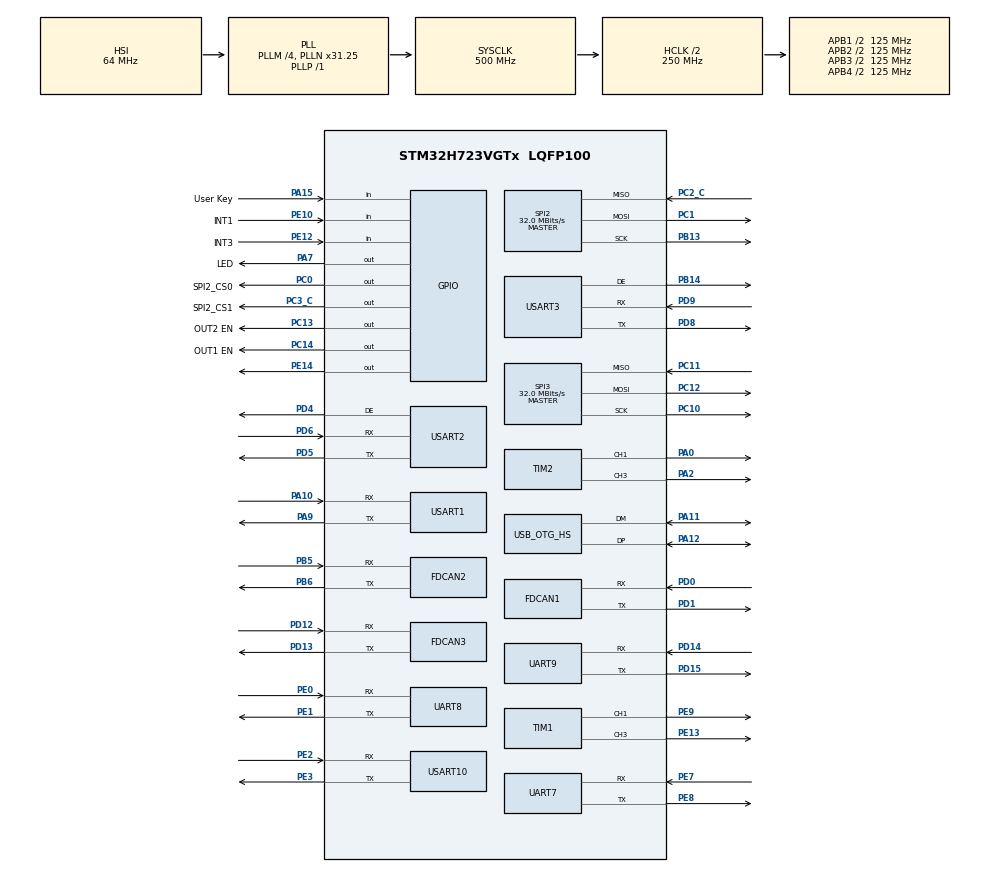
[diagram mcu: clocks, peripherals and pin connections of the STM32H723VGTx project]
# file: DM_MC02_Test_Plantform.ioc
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CORTEX_M7.default_mode_Activation=1
FDCAN1.CalculateBaudRateNominal=1000000
FDCAN1.CalculateTimeBitNominal=1000
FDCAN1.CalculateTimeQuantumNominal=40.0
FDCAN1.NominalPrescaler=5
FDCAN1.NominalSyncJumpWidth=8
FDCAN1.NominalTimeSeg1=12
FDCAN1.NominalTimeSeg2=12
FDCAN1.RxFifo0ElmtsNbr=32
FDCAN1.TxFifoQueueElmtsNbr=10
FDCAN2.CalculateBaudRateNominal=1000000
FDCAN2.CalculateTimeBitNominal=1000
FDCAN2.CalculateTimeQuantumNominal=40.0
FDCAN2.NominalPrescaler=5
FDCAN2.NominalSyncJumpWidth=8
FDCAN2.NominalTimeSeg1=12
FDCAN2.NominalTimeSeg2=12
FDCAN2.RxFifo0ElmtsNbr=32
FDCAN2.TxFifoQueueElmtsNbr=10
FDCAN3.CalculateBaudRateNominal=1000000
FDCAN3.CalculateTimeBitNominal=1000
FDCAN3.CalculateTimeQuantumNominal=40.0
FDCAN3.NominalPrescaler=5
FDCAN3.NominalSyncJumpWidth=8
FDCAN3.NominalTimeSeg1=12
FDCAN3.NominalTimeSeg2=12
FDCAN3.RxFifo0ElmtsNbr=32
FDCAN3.TxFifoQueueElmtsNbr=10
FREERTOS.Queues01=ButtonMessageQueue,16,uint16_t,0,Dynamic,NULL,NULL
FREERTOS.Tasks01=defaultTask,24,128,StartDefaultTask,Default,NULL,Dynamic,NULL,NULL;buttonTask,24,128,ButtonTask,Default,NULL,Dynamic,NULL,NULL;uartRxTask,24,128,UartRxTask,Default,NULL,Dynamic,NULL,NULL
FREERTOS.configCHECK_FOR_STACK_OVERFLOW=2
FREERTOS.configENABLE_FPU=1
FREERTOS.configTOTAL_HEAP_SIZE=65536
FREERTOS.configUSE_STATS_FORMATTING_FUNCTIONS=1
Mcu.Family=STM32H7
Mcu.Name=STM32H723VGTx
Mcu.Package=LQFP100
NVIC.FDCAN1_IT0_IRQn=true\:5\:0\:false\:false\:true\:true\:true\:true\:true
NVIC.FDCAN2_IT0_IRQn=true\:5\:0\:false\:false\:true\:true\:true\:true\:true
NVIC.FDCAN3_IT0_IRQn=true\:5\:0\:false\:false\:true\:true\:true\:true\:true
NVIC.OTG_HS_IRQn=true\:5\:0\:false\:false\:true\:true\:true\:true\:true
NVIC.PriorityGroup=NVIC_PRIORITYGROUP_4
NVIC.TIM7_IRQn=true\:15\:0\:false\:false\:true\:false\:false\:true\:true
NVIC.TimeBase=TIM7_IRQn
NVIC.TimeBaseIP=TIM7
NVIC.UART7_IRQn=true\:5\:0\:false\:false\:true\:true\:true\:true\:true
NVIC.UART8_IRQn=true\:5\:0\:false\:false\:true\:true\:true\:true\:true
NVIC.UART9_IRQn=true\:5\:0\:false\:false\:true\:true\:true\:true\:true
NVIC.USART10_IRQn=true\:5\:0\:false\:false\:true\:true\:true\:true\:true
NVIC.USART1_IRQn=true\:5\:0\:false\:false\:true\:true\:true\:true\:true
NVIC.USART2_IRQn=true\:5\:0\:false\:false\:true\:true\:true\:true\:true
NVIC.USART3_IRQn=true\:5\:0\:false\:false\:true\:true\:true\:true\:true
PA0.Signal=S_TIM2_CH1_ETR
PA1.Signal=OCTOSPIM_P1_IO3
PA10.Mode=Asynchronous
PA10.Signal=USART1_RX
PA11.Mode=Device_Only_FS
PA11.Signal=USB_OTG_HS_DM
PA12.Mode=Device_Only_FS
PA12.Signal=USB_OTG_HS_DP
PA13(JTMS/SWDIO).Signal=DEBUG_JTMS-SWDIO
PA14(JTCK/SWCLK).Signal=DEBUG_JTCK-SWCLK
PA15(JTDI).GPIO_Label=User Key
PA15(JTDI).Signal=GPIO_Input
PA2.Signal=S_TIM2_CH3
PA3.Signal=OCTOSPIM_P1_IO2
PA7.GPIO_Label=LED
PA7.Signal=GPIO_Output
PA9.Mode=Asynchronous
PA9.Signal=USART1_TX
PB0.Signal=OCTOSPIM_P1_IO1
PB13.Mode=Full_Duplex_Master
PB13.Signal=SPI2_SCK
PB14.Mode=Hardware Flow Control (RS485)
PB14.Signal=USART3_DE
PB15.Signal=S_TIM12_CH2
PB2.Signal=OCTOSPIM_P1_CLK
PB5.Mode=FDCAN_Activate
PB5.Signal=FDCAN2_RX
PB6.Mode=FDCAN_Activate
PB6.Signal=FDCAN2_TX
PC0.GPIO_Label=SPI2_CS0
PC0.Signal=GPIO_Output
PC1.Mode=Full_Duplex_Master
PC1.Signal=SPI2_MOSI
PC10.Mode=Full_Duplex_Master
PC10.Signal=SPI3_SCK
PC11.Mode=Full_Duplex_Master
PC11.Signal=SPI3_MISO
PC12.Mode=Full_Duplex_Master
PC12.Signal=SPI3_MOSI
PC13.GPIO_Label=OUT2 EN
PC13.Signal=GPIO_Output
PC14-OSC32_IN.GPIO_Label=OUT1 EN
PC14-OSC32_IN.Signal=GPIO_Output
PC2_C.Mode=Full_Duplex_Master
PC2_C.Signal=SPI2_MISO
PC3_C.GPIO_Label=SPI2_CS1
PC3_C.Signal=GPIO_Output
PD0.Mode=FDCAN_Activate
PD0.Signal=FDCAN1_RX
PD1.Mode=FDCAN_Activate
PD1.Signal=FDCAN1_TX
PD11.Signal=OCTOSPIM_P1_IO0
PD12.Mode=FDCAN_Activate
PD12.Signal=FDCAN3_RX
PD13.Mode=FDCAN_Activate
PD13.Signal=FDCAN3_TX
PD14.Mode=Asynchronous
PD14.Signal=UART9_RX
PD15.Mode=Asynchronous
PD15.Signal=UART9_TX
PD2.Signal=UART5_RX
PD4.Mode=Hardware Flow Control (RS485)
PD4.Signal=USART2_DE
PD5.Mode=Asynchronous
PD5.Signal=USART2_TX
PD6.Mode=Asynchronous
PD6.Signal=USART2_RX
PD8.Mode=Asynchronous
PD8.Signal=USART3_TX
PD9.Mode=Asynchronous
PD9.Signal=USART3_RX
PE0.Mode=Asynchronous
PE0.Signal=UART8_RX
PE1.Mode=Asynchronous
PE1.Signal=UART8_TX
PE10.GPIO_Label=INT1
PE10.Signal=GPIO_Input
PE11.Signal=OCTOSPIM_P1_NCS
PE12.GPIO_Label=INT3
PE12.Signal=GPIO_Input
PE13.Signal=S_TIM1_CH3
PE14.Signal=GPIO_Output
PE2.Mode=Asynchronous
PE2.Signal=USART10_RX
PE3.Mode=Asynchronous
PE3.Signal=USART10_TX
PE7.Mode=Asynchronous
PE7.Signal=UART7_RX
PE8.Mode=Asynchronous
PE8.Signal=UART7_TX
PE9.Signal=S_TIM1_CH1
PH0-OSC_IN.Mode=HSE-External-Oscillator
PH0-OSC_IN.Signal=RCC_OSC_IN
PH1-OSC_OUT.Mode=HSE-External-Oscillator
PH1-OSC_OUT.Signal=RCC_OSC_OUT
ProjectManager.HeapSize=0x200
ProjectManager.StackSize=0x400
ProjectManager.TargetToolchain=CMake
RCC.ADCFreq_Value=129000000
RCC.APB1Freq_Value=125000000
RCC.APB2Freq_Value=125000000
RCC.APB3Freq_Value=125000000
RCC.APB4Freq_Value=125000000
RCC.CortexFreq_Value=500000000
RCC.D1PPRE=RCC_APB3_DIV2
RCC.D2PPRE1=RCC_APB1_DIV2
RCC.D2PPRE2=RCC_APB2_DIV2
RCC.D3PPRE=RCC_APB4_DIV2
RCC.DIVM1=4
RCC.DIVN1=31
RCC.DIVP1=1
RCC.DIVQ1=4
RCC.HCLKFreq_Value=250000000
RCC.HPRE=RCC_HCLK_DIV2
RCC.PLL2FRACN=0
RCC.PLL3FRACN=0
RCC.PLLFRACN=2048
RCC.SPI123CLockSelection=RCC_SPI123CLKSOURCE_CLKP
RCC.SYSCLKFreq_VALUE=500000000
RCC.SYSCLKSource=RCC_SYSCLKSOURCE_PLLCLK
RCC.USBCLockSelection=RCC_USBCLKSOURCE_HSI48
RCC.USBFreq_Value=48000000
SH.S_TIM12_CH2.0=TIM12_CH2
SH.S_TIM1_CH1.0=TIM1_CH1,PWM Generation1 CH1
SH.S_TIM1_CH3.0=TIM1_CH3,PWM Generation3 CH3
SH.S_TIM2_CH1_ETR.0=TIM2_CH1,PWM Generation1 CH1
SH.S_TIM2_CH3.0=TIM2_CH3,PWM Generation3 CH3
SPI2.CalculateBaudRate=32.0 MBits/s
SPI2.Direction=SPI_DIRECTION_2LINES
SPI2.Mode=SPI_MODE_MASTER
SPI2.VirtualType=VM_MASTER
SPI3.CalculateBaudRate=32.0 MBits/s
SPI3.Direction=SPI_DIRECTION_2LINES
SPI3.Mode=SPI_MODE_MASTER
SPI3.VirtualType=VM_MASTER
TIM1.Channel-PWM\ Generation1\ CH1=TIM_CHANNEL_1
TIM1.Channel-PWM\ Generation3\ CH3=TIM_CHANNEL_3
TIM2.Channel-PWM\ Generation1\ CH1=TIM_CHANNEL_1
TIM2.Channel-PWM\ Generation3\ CH3=TIM_CHANNEL_3
USART1.VirtualMode-Asynchronous=VM_ASYNC
USART10.VirtualMode=VM_ASYNC
USART2.VirtualMode-Asynchronous=VM_ASYNC
USART2.VirtualMode-Hardware\ Flow\ Control\ (RS485)=VM_ASYNC
USART3.VirtualMode-Asynchronous=VM_ASYNC
USART3.VirtualMode-Hardware\ Flow\ Control\ (RS485)=VM_ASYNC
USB_DEVICE.CLASS_NAME_HS=CDC
USB_DEVICE.VirtualMode=Cdc
USB_DEVICE.VirtualModeHS=Cdc_HS
USB_OTG_HS.VirtualMode-Device_Only_FS=Device_Only_FS
VP_FREERTOS_VS_CMSIS_V2.Mode=CMSIS_V2
VP_MEMORYMAP_VS_MEMORYMAP.Mode=CurAppReg
VP_SYS_VS_tim7.Mode=TIM7
VP_USB_DEVICE_VS_USB_DEVICE_CDC_HS.Mode=CDC_HS
board=custom

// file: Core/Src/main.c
/* USER CODE BEGIN Header */
/**
  ******************************************************************************
  * @file           : main.c
  * @brief          : Main program body
  ******************************************************************************
  * @attention
  *
  * Copyright (c) 2026 STMicroelectronics.
  * All rights reserved.
  *
  * This software is licensed under terms that can be found in the LICENSE file
  * in the root directory of this software component.
  * If no LICENSE file comes with this software, it is provided AS-IS.
  *
  ******************************************************************************
  */
/* USER CODE END Header */
#include "main.h"
#include "FreeRTOS.h"
#include "cmsis_os2.h"
#include "fdcan.h"
#include "spi.h"
#include "tim.h"
#include "usart.h"
#include "usb_device.h"
#include "gpio.h"

void SystemClock_Config(void);
void PeriphCommonClock_Config(void);
static void MPU_Config(void);
void MX_FREERTOS_Init(void);

int main(void)
{

  /* MPU Configuration--------------------------------------------------------*/
  MPU_Config();

  /* MCU Configuration--------------------------------------------------------*/

  /* Reset of all peripherals, Initializes the Flash interface and the Systick. */
  HAL_Init();

  /* Configure the system clock */
  SystemClock_Config();

  /* Configure the peripherals common clocks */
  PeriphCommonClock_Config();

  /* Initialize all configured peripherals */
  MX_GPIO_Init();
  MX_USART1_UART_Init();
  MX_USART2_UART_Init();
  MX_USART3_UART_Init();
  MX_FDCAN1_Init();
  MX_FDCAN2_Init();
  MX_FDCAN3_Init();
  MX_SPI2_Init();
  MX_UART7_Init();
  MX_TIM1_Init();
  MX_TIM2_Init();
  MX_UART8_Init();
  MX_UART9_Init();
  MX_USART10_UART_Init();
  MX_SPI3_Init();

  /* Init scheduler */
  osKernelInitialize();  /* Call init function for freertos objects (in cmsis_os2.c) */
  MX_FREERTOS_Init();

  /* Start scheduler */
  osKernelStart();

  /* We should never get here as control is now taken by the scheduler */

  /* Infinite loop */
  while (1)
  {

  }
}

void SystemClock_Config(void)
{
  RCC_OscInitTypeDef RCC_OscInitStruct = {0};
  RCC_ClkInitTypeDef RCC_ClkInitStruct = {0};

  /** Supply configuration update enable
  */
  HAL_PWREx_ConfigSupply(PWR_LDO_SUPPLY);

  /** Configure the main internal regulator output voltage
  */
  __HAL_PWR_VOLTAGESCALING_CONFIG(PWR_REGULATOR_VOLTAGE_SCALE0);

  while(!__HAL_PWR_GET_FLAG(PWR_FLAG_VOSRDY)) {}

  /** Initializes the RCC Oscillators according to the specified parameters
  * in the RCC_OscInitTypeDef structure.
  */
  RCC_OscInitStruct.OscillatorType = RCC_OSCILLATORTYPE_HSI48|RCC_OSCILLATORTYPE_HSI;
  RCC_OscInitStruct.HSIState = RCC_HSI_DIV1;
  RCC_OscInitStruct.HSICalibrationValue = 64;
  RCC_OscInitStruct.HSI48State = RCC_HSI48_ON;
  RCC_OscInitStruct.PLL.PLLState = RCC_PLL_ON;
  RCC_OscInitStruct.PLL.PLLSource = RCC_PLLSOURCE_HSI;
  RCC_OscInitStruct.PLL.PLLM = 4;
  RCC_OscInitStruct.PLL.PLLN = 31;
  RCC_OscInitStruct.PLL.PLLP = 1;
  RCC_OscInitStruct.PLL.PLLQ = 4;
  RCC_OscInitStruct.PLL.PLLR = 2;
  RCC_OscInitStruct.PLL.PLLRGE = RCC_PLL1VCIRANGE_3;
  RCC_OscInitStruct.PLL.PLLVCOSEL = RCC_PLL1VCOWIDE;
  RCC_OscInitStruct.PLL.PLLFRACN = 2048;
  if (HAL_RCC_OscConfig(&RCC_OscInitStruct) != HAL_OK)
  {
    Error_Handler();
  }

  /** Initializes the CPU, AHB and APB buses clocks
  */
  RCC_ClkInitStruct.ClockType = RCC_CLOCKTYPE_HCLK|RCC_CLOCKTYPE_SYSCLK
                              |RCC_CLOCKTYPE_PCLK1|RCC_CLOCKTYPE_PCLK2
                              |RCC_CLOCKTYPE_D3PCLK1|RCC_CLOCKTYPE_D1PCLK1;
  RCC_ClkInitStruct.SYSCLKSource = RCC_SYSCLKSOURCE_PLLCLK;
  RCC_ClkInitStruct.SYSCLKDivider = RCC_SYSCLK_DIV1;
  RCC_ClkInitStruct.AHBCLKDivider = RCC_HCLK_DIV2;
  RCC_ClkInitStruct.APB3CLKDivider = RCC_APB3_DIV2;
  RCC_ClkInitStruct.APB1CLKDivider = RCC_APB1_DIV2;
  RCC_ClkInitStruct.APB2CLKDivider = RCC_APB2_DIV2;
  RCC_ClkInitStruct.APB4CLKDivider = RCC_APB4_DIV2;

  if (HAL_RCC_ClockConfig(&RCC_ClkInitStruct, FLASH_LATENCY_3) != HAL_OK)
  {
    Error_Handler();
  }
}

void PeriphCommonClock_Config(void)
{
  RCC_PeriphCLKInitTypeDef PeriphClkInitStruct = {0};

  /** Initializes the peripherals clock
  */
  PeriphClkInitStruct.PeriphClockSelection = RCC_PERIPHCLK_CKPER;
  PeriphClkInitStruct.CkperClockSelection = RCC_CLKPSOURCE_HSI;
  if (HAL_RCCEx_PeriphCLKConfig(&PeriphClkInitStruct) != HAL_OK)
  {
    Error_Handler();
  }
}

 /* MPU Configuration */

void MPU_Config(void)
{
  MPU_Region_InitTypeDef MPU_InitStruct = {0};

  /* Disables the MPU */
  HAL_MPU_Disable();

  /** Initializes and configures the Region and the memory to be protected
  */
  MPU_InitStruct.Enable = MPU_REGION_ENABLE;
  MPU_InitStruct.Number = MPU_REGION_NUMBER0;
  MPU_InitStruct.BaseAddress = 0x0;
  MPU_InitStruct.Size = MPU_REGION_SIZE_4GB;
  MPU_InitStruct.SubRegionDisable = 0x87;
  MPU_InitStruct.TypeExtField = MPU_TEX_LEVEL0;
  MPU_InitStruct.AccessPermission = MPU_REGION_NO_ACCESS;
  MPU_InitStruct.DisableExec = MPU_INSTRUCTION_ACCESS_DISABLE;
  MPU_InitStruct.IsShareable = MPU_ACCESS_SHAREABLE;
  MPU_InitStruct.IsCacheable = MPU_ACCESS_NOT_CACHEABLE;
  MPU_InitStruct.IsBufferable = MPU_ACCESS_NOT_BUFFERABLE;

  HAL_MPU_ConfigRegion(&MPU_InitStruct);
  /* Enables the MPU */
  HAL_MPU_Enable(MPU_PRIVILEGED_DEFAULT);

}

void HAL_TIM_PeriodElapsedCallback(TIM_HandleTypeDef *htim)
{
  if (htim->Instance == TIM7)
  {
    HAL_IncTick();
  }
}

void Error_Handler(void)
{
  __disable_irq();
  while (1)
  {
  }
}

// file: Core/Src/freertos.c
/* USER CODE BEGIN Header */
/**
  ******************************************************************************
  * File Name          : freertos.c
  * Description        : Code for freertos applications
  ******************************************************************************
  * @attention
  *
  * Copyright (c) 2026 STMicroelectronics.
  * All rights reserved.
  *
  * This software is licensed under terms that can be found in the LICENSE file
  * in the root directory of this software component.
  * If no LICENSE file comes with this software, it is provided AS-IS.
  *
  ******************************************************************************
  */
/* USER CODE END Header */

#include "FreeRTOS.h"
#include "task.h"
#include "main.h"
#include "FreeRTOS.h"
#include "cmsis_os2.h"

/* Definitions for defaultTask */
osThreadId_t defaultTaskHandle;
const osThreadAttr_t defaultTask_attributes = {
  .name = "defaultTask",
  .stack_size = 128 * 4,
  .priority = (osPriority_t) osPriorityNormal,
};
/* Definitions for buttonTask */
osThreadId_t buttonTaskHandle;
const osThreadAttr_t buttonTask_attributes = {
  .name = "buttonTask",
  .stack_size = 128 * 4,
  .priority = (osPriority_t) osPriorityNormal,
};
/* Definitions for uartRxTask */
osThreadId_t uartRxTaskHandle;
const osThreadAttr_t uartRxTask_attributes = {
  .name = "uartRxTask",
  .stack_size = 128 * 4,
  .priority = (osPriority_t) osPriorityNormal,
};
/* Definitions for ButtonMessageQueue */
osMessageQueueId_t ButtonMessageQueueHandle;
const osMessageQueueAttr_t ButtonMessageQueue_attributes = {
  .name = "ButtonMessageQueue"
};

void StartDefaultTask(void *argument);
void ButtonTask(void *argument);
void UartRxTask(void *argument);

extern void MX_USB_DEVICE_Init(void);
void MX_FREERTOS_Init(void); /* (MISRA C 2004 rule 8.1) */

/* Hook prototypes */
void vApplicationStackOverflowHook(xTaskHandle xTask, char *pcTaskName);

/* USER CODE BEGIN 4 */
void vApplicationStackOverflowHook(xTaskHandle xTask, char *pcTaskName)
{
   /* Run time stack overflow checking is performed if
   configCHECK_FOR_STACK_OVERFLOW is defined to 1 or 2. This hook function is
   called if a stack overflow is detected. */
}
/* USER CODE END 4 */

void MX_FREERTOS_Init(void) {

  /* Create the queue(s) */
  /* creation of ButtonMessageQueue */
  ButtonMessageQueueHandle = osMessageQueueNew (16, sizeof(uint16_t), &ButtonMessageQueue_attributes);

  /* Create the thread(s) */
  /* creation of defaultTask */
  defaultTaskHandle = osThreadNew(StartDefaultTask, NULL, &defaultTask_attributes);

  /* creation of buttonTask */
  buttonTaskHandle = osThreadNew(ButtonTask, NULL, &buttonTask_attributes);

  /* creation of uartRxTask */
  uartRxTaskHandle = osThreadNew(UartRxTask, NULL, &uartRxTask_attributes);

}

/* USER CODE BEGIN Header_StartDefaultTask */
uint32_t value_test;
/**
  * @brief  Function implementing the defaultTask thread.
  * @param  argument: Not used
  * @retval None
  */
/* USER CODE END Header_StartDefaultTask */
void StartDefaultTask(void *argument)
{
  /* init code for USB_DEVICE */
  MX_USB_DEVICE_Init();
  /* USER CODE BEGIN StartDefaultTask */
  /* Infinite loop */
  for(;;)
  {
    taskENTER_CRITICAL(); // 进入临界段
    value_test++;
    taskEXIT_CRITICAL(); // 退出临界段
    osDelay(200);
  }
  /* USER CODE END StartDefaultTask */
}

void ButtonTask(void *argument)
{
  /* USER CODE BEGIN ButtonTask */
  /* Infinite loop */
  uint8_t button_state = 0;
  for(;;)
  {
    button_state = HAL_GPIO_ReadPin(GPIOA, GPIO_PIN_15);
    if (button_state == GPIO_PIN_RESET) // 按键按下
    {
      uint16_t msg = 1; // 可以根据需要定义消息内容
      osMessageQueuePut(ButtonMessageQueueHandle, &msg, 0, 0); // 将消息放入队列
    }
    osDelay(1);
  }
  /* USER CODE END ButtonTask */
}

void UartRxTask(void *argument)
{
  /* USER CODE BEGIN UartRxTask */
  /* Infinite loop */
  uint8_t called_cnt = 0;
  uint16_t msg;
  uint8_t led_state = 0;
  for(;;)
  {
    osMessageQueueGet(ButtonMessageQueueHandle, &msg, 0, osWaitForever);
    called_cnt++;
    if (called_cnt >= 5)
    {
      // printf("Button pressed 5 times!\r\n");
      led_state = !led_state; // 切换LED状态
      HAL_GPIO_WritePin(GPIOA, GPIO_PIN_7, led_state ? GPIO_PIN_SET : GPIO_PIN_RESET); // 控制LED
      called_cnt = 0; // 重置计数器
    }
  }
  /* USER CODE END UartRxTask */
}
